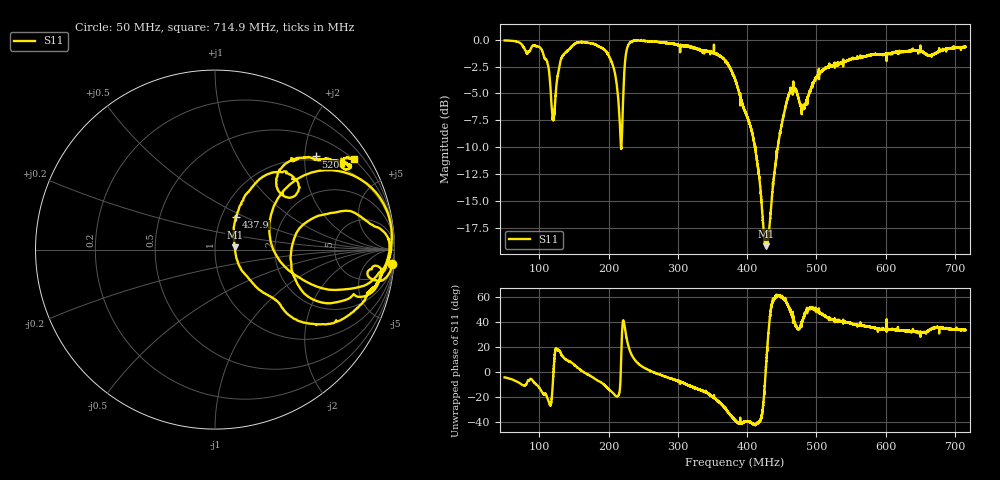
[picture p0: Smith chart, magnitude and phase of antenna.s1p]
! Calibrated NanoVNA antenna measurement, band-limited to the calibrated dynamic range
! Samples with nonfinite or |Gamma| >= 1 were excluded; see broadband-excluded.json
# Hz S RI R 50
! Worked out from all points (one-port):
!   23129 points, 50 MHz to 714.9 MHz, reference 50 ohm
!   lowest |S11| = -19.2 dB at 427.5 MHz (marker M1), VSWR 1.25, Z = 62.3 + j1.57 ohm
!   |S11| at or under -10 dB: 218.0152 MHz to 218.6047 MHz (589.5 kHz wide, 0.27 % of centre); 411.3035 MHz to 411.6646 MHz (361.1 kHz wide, 0.0877 % of centre); 411.7 MHz to 444.2 MHz (32.46 MHz wide, 7.59 % of centre)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
!   S11 on the Smith chart (normalised r, x): 50 MHz: 3, -24; 437.9 MHz: 1.17, +0.45; 520 MHz: 0.90, +2.25; 714.9 MHz: 0.46, +3.29
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5e7  0.9872 -0.0797
9.8645e7  0.909 -0.1896
1.135662e8  0.6731 -0.2945
1.204088e8  0.424 -0.00998
1.2567e8  0.6196 0.2002
1.331162e8  0.8133 0.1821
1.568062e8  0.9704 0.0429
1.907312e8  0.9014 -0.1459
2.0939e8  0.6564 -0.2251
2.162325e8  0.399 -0.1051
2.198838e8  0.3273 0.2387
2.24455e8  0.7044 0.4346
2.293712e8  0.9023 0.3109
2.37335e8  0.9737 0.1676
2.993488e8  0.939 -0.1195
3.544912e8  0.7974 -0.3218
3.82465e8  0.5107 -0.4099
4.091162e8  0.2567 -0.231
4.275162e8  0.1095 0.0124
4.37895e8  0.1189 0.1841
4.558062e8  0.2767 0.4111
4.655812e8  0.4312 0.41
4.7619e8  0.4126 0.2903
4.864538e8  0.3501 0.3944
5.20005e8  0.5608 0.5189
5.486975e8  0.6328 0.5042
6.318138e8  0.7451 0.4727
7.1493e8  0.7749 0.5077
